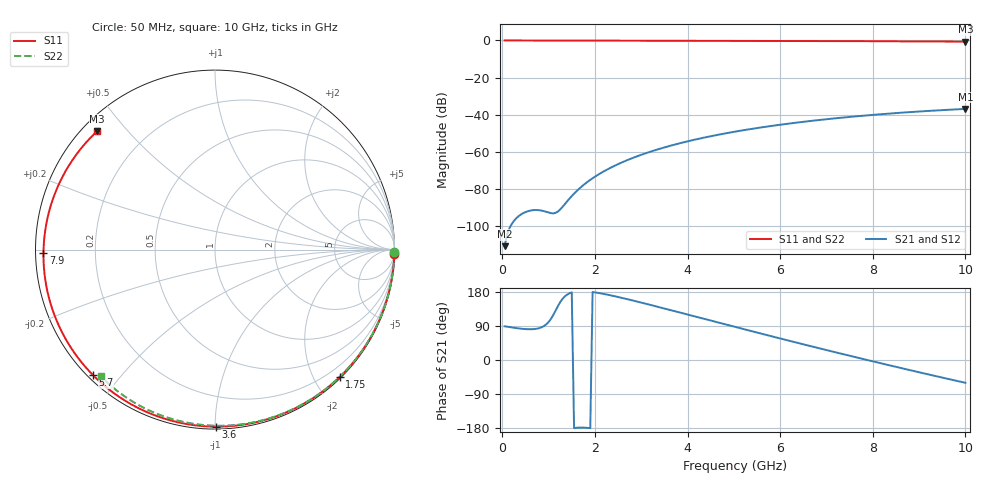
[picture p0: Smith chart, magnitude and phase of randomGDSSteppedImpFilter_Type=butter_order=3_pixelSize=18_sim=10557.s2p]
! freq	dB(S11)	phase(S11)	dB(S12)	phase(S12)
!  dB(S21)	phase(S21)	dB(S22)	phase(S22)
!S-par simulation data
#  GHz  S  DB  R 50
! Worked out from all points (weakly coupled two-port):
!   200 points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, 50 MHz to 10 GHz, reference 50 ohm
!   highest |S21| = -36.91 dB at 10 GHz (marker M1); lowest = -110.9 dB at 50 MHz (marker M2)
!   lowest |S11| = -0.6 dB at 10 GHz (marker M3), VSWR 27.94, Z = 2.1 + j20.8 ohm
!   |S11| at or under -10 dB: nowhere
!   |S22| runs from -0.4 to 0.0 dB; largest |S21 - S12| = 0
!   S11 on the Smith chart (normalised r, x): 50 MHz: 0, -85; 1.75 GHz: 0.02, -2.38; 3.6 GHz: 0.01, -1.00; 5.7 GHz: 0.01, -0.42; 7.9 GHz: 0.02, -0.01; 10 GHz: 0.04, +0.42
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0.05  -0.00 -1.3  -110.91 89.0  -110.91 89.0  -0.00 -0.8
0.4  -0.01 -10.6  -93.86 82.6  -93.86 82.6  -0.01 -6.1
0.8  -0.03 -21.2  -91.53 84.2  -91.53 84.2  -0.02 -12.1
1.2  -0.04 -31.6  -92.25 142.0  -92.25 142.0  -0.02 -18.2
1.65  -0.05 -43.1  -80.15 -178.4  -80.15 -178.4  -0.03 -24.9
1.75  -0.06 -45.6  -78.00 -178.3  -78.00 -178.3  -0.03 -26.3
2.05  -0.07 -53.1  -72.67 177.5  -72.67 177.5  -0.04 -30.8
2.45  -0.08 -62.9  -67.26 167.7  -67.26 167.7  -0.05 -36.6
2.9  -0.09 -73.6  -62.56 154.6  -62.56 154.6  -0.06 -43.1
3.4  -0.11 -85.2  -58.40 139.0  -58.40 139.0  -0.07 -50.2
3.6  -0.12 -89.7  -56.96 132.7  -56.96 132.7  -0.07 -53.0
4.3  -0.15 -105.1  -52.68 110.4  -52.68 110.4  -0.09 -62.6
5.05  -0.18 -121.0  -49.06 86.6  -49.06 86.6  -0.11 -72.6
5.7  -0.22 -134.4  -46.48 66.2  -46.48 66.2  -0.13 -81.0
6.2  -0.25 -144.5  -44.78 50.6  -44.78 50.6  -0.16 -87.3
6.7  -0.29 -154.5  -43.28 35.3  -43.28 35.3  -0.18 -93.5
7.3  -0.34 -166.7  -41.70 17.2  -41.70 17.2  -0.21 -100.8
7.9  -0.39 -178.9  -40.34 -0.6  -40.34 -0.6  -0.25 -108.0
8.35  -0.44 171.7  -39.44 -13.8  -39.44 -13.8  -0.29 -113.3
9.15  -0.52 154.3  -38.07 -36.6  -38.07 -36.6  -0.36 -122.5
9.55  -0.57 145.3  -37.49 -47.8  -37.49 -47.8  -0.40 -127.1
10  -0.62 134.8  -36.91 -60.2  -36.91 -60.2  -0.45 -132.2
